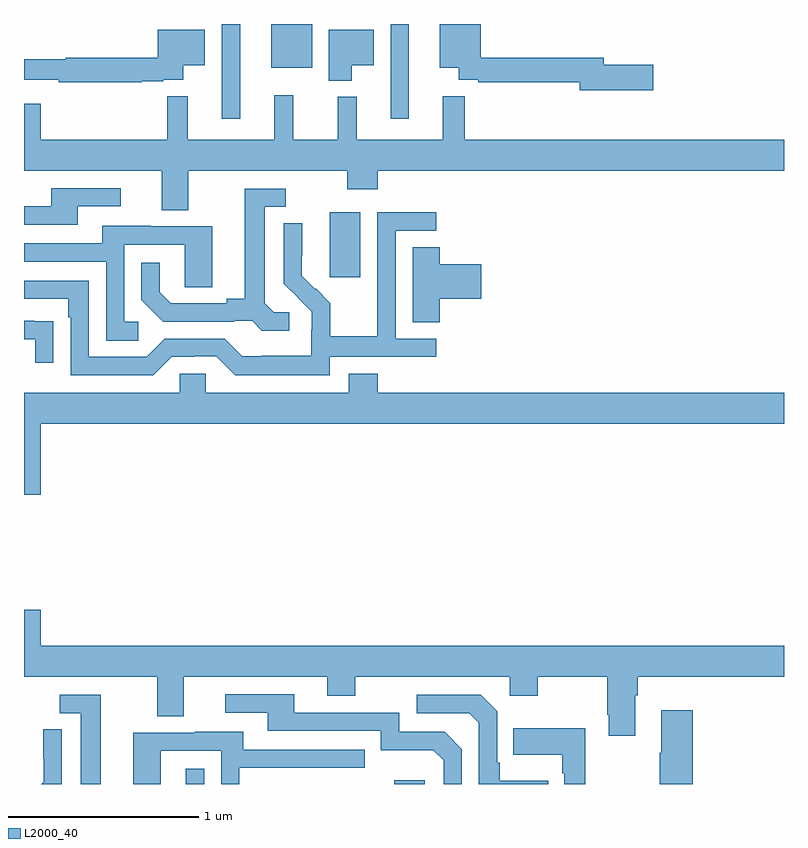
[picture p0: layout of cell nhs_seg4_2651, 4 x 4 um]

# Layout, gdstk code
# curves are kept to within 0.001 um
import gdstk
lib = gdstk.Library(unit=1e-6, precision=1e-09)
def R(c, l, rs):  # rectangles x0, y0, x1, y1
    for r in rs: c.add(gdstk.rectangle(r[:2], r[2:], *l))
def P(c, l, *ps):  # polygons
    for p in ps: c.add(gdstk.Polygon(p, *l))
L2000_40 = (2000, 40)

nhs_seg4_2651 = lib.new_cell('nhs_seg4_2651')
R(nhs_seg4_2651, L2000_40, [(249.851,818.9,249.948,818.98), (250.949,818.9,251.11,818.92), (250.61,821.568,250.771,821.908), (250.041,822.402,250.138,822.9), (250.929,822.402,251.026,822.9), (250.301,822.671,250.516,822.9)])
P(nhs_seg4_2651, L2000_40, [(252.313,822.686),(252.052,822.686),(252.052,822.722),(251.404,822.722),(251.404,822.9),(251.189,822.9),(251.189,822.671),(251.288,822.671),(251.288,822.606),(251.392,822.606),(251.392,822.594),(251.924,822.594),(251.924,822.551),(252.313,822.551)],
  [(250.726,822.683),(250.84,822.683),(250.84,822.871),(250.604,822.871),(250.604,822.602),(250.726,822.602)],
  [(249.62,822.6),(249.734,822.6),(249.734,822.606),(249.838,822.606),(249.838,822.683),(249.952,822.683),(249.952,822.871),(249.704,822.871),(249.704,822.722),(249.22,822.722),(249.22,822.715),(249,822.715),(249,822.606),(249.184,822.606),(249.184,822.594),(249.62,822.594)],
  [(249.865,822.128),(250.702,822.128),(250.702,822.029),(250.862,822.029),(250.862,822.128),(253,822.128),(253,822.292),(251.321,822.292),(251.321,822.521),(251.204,822.521),(251.204,822.292),(250.751,822.292),(250.751,822.517),(250.651,822.517),(250.651,822.292),(250.416,822.292),(250.416,822.526),(250.316,822.526),(250.316,822.292),(249.863,822.292),(249.863,822.521),(249.754,822.521),(249.754,822.292),(249.088,822.292),(249.088,822.481),(249,822.481),(249,822.128),(249.725,822.128),(249.725,821.92),(249.865,821.92)],
  [(249.283,821.94),(249.508,821.94),(249.508,822.036),(249.143,822.036),(249.143,821.94),(249,821.94),(249,821.844),(249.283,821.844)],
  [(250.396,821.382),(250.314,821.382),(250.267,821.429),(250.267,821.937),(250.378,821.937),(250.378,822.033),(250.163,822.033),(250.163,821.453),(250.067,821.453),(250.067,821.43),(249.772,821.43),(249.715,821.487),(249.715,821.644),(249.618,821.644),(249.618,821.45),(249.734,821.334),(250.106,821.334),(250.106,821.337),(250.2,821.337),(250.252,821.285),(250.396,821.285)],
  [(250.608,821.148),(251.17,821.148),(251.17,821.244),(250.956,821.244),(250.956,821.811),(251.17,821.811),(251.17,821.91),(250.86,821.91),(250.86,821.48),(250.858,821.48),(250.858,821.257),(250.613,821.257),(250.613,821.431),(250.536,821.508),(250.533,821.505),(250.463,821.576),(250.463,821.68),(250.465,821.68),(250.465,821.852),(250.368,821.852),(250.368,821.534),(250.514,821.386),(250.514,821.289),(250.512,821.289),(250.512,821.155),(250.249,821.155),(250.249,821.151),(250.149,821.151),(250.056,821.244),(249.741,821.244),(249.645,821.148),(249.342,821.148),(249.342,821.55),(249,821.55),(249,821.454),(249.233,821.454),(249.233,821.357),(249.246,821.357),(249.246,821.052),(249.681,821.052),(249.777,821.148),(249.896,821.148),(249.896,821.151),(250.011,821.151),(250.111,821.051),(250.608,821.051)],
  [(249.601,821.334),(249.528,821.334),(249.528,821.739),(249.846,821.739),(249.846,821.515),(249.991,821.515),(249.991,821.835),(249.667,821.835),(249.667,821.839),(249.413,821.839),(249.413,821.745),(249,821.745),(249,821.649),(249.432,821.649),(249.432,821.233),(249.601,821.233)],
  [(251.189,821.453),(251.407,821.453),(251.407,821.636),(251.189,821.636),(251.189,821.726),(251.045,821.726),(251.045,821.329),(251.189,821.329)],
  [(249.155,821.336),(249.053,821.336),(249.053,821.337),(249,821.337),(249,821.241),(249.059,821.241),(249.059,821.118),(249.155,821.118)],
  [(249.088,820.796),(253,820.796),(253,820.96),(250.862,820.96),(250.862,821.059),(250.709,821.059),(250.709,820.96),(249.957,820.96),(249.957,821.058),(249.819,821.058),(249.819,820.96),(249,820.96),(249,820.422),(249.088,820.422)],
  [(252.217,819.368),(252.23,819.368),(252.23,819.464),(253,819.464),(253,819.628),(249.088,819.628),(249.088,819.817),(249,819.817),(249,819.464),(249.701,819.464),(249.701,819.256),(249.841,819.256),(249.841,819.464),(250.595,819.464),(250.595,819.365),(250.743,819.365),(250.743,819.464),(251.556,819.464),(251.556,819.365),(251.703,819.365),(251.703,819.464),(252.07,819.464),(252.07,819.265),(252.077,819.265),(252.077,819.153),(252.217,819.153)],
  [(251.304,819.084),(251.214,819.174),(250.974,819.174),(250.974,819.276),(250.423,819.276),(250.423,819.372),(250.059,819.372),(250.059,819.276),(250.283,819.276),(250.283,819.18),(250.878,819.18),(250.878,819.077),(251.155,819.077),(251.208,819.024),(251.208,818.9),(251.304,818.9)],
  [(249.403,819.369),(249.189,819.369),(249.189,819.273),(249.299,819.273),(249.299,818.9),(249.403,818.9)],
  [(251.759,818.917),(251.503,818.917),(251.503,819.013),(251.49,819.013),(251.49,819.282),(251.403,819.369),(251.067,819.369),(251.067,819.273),(251.343,819.273),(251.394,819.222),(251.394,818.9),(251.759,818.9)],
  [(252.521,819.289),(252.353,819.289),(252.353,819.065),(252.346,819.065),(252.346,818.9),(252.521,818.9)],
  [(251.953,819.193),(251.575,819.193),(251.575,819.053),(251.832,819.053),(251.832,818.957),(251.844,818.957),(251.844,818.9),(251.953,818.9)],
  [(249.198,819.188),(249.102,819.188),(249.102,819.034),(249.104,819.034),(249.104,818.912),(249.092,818.9),(249.198,818.9)],
  [(249.72,819.075),(250.038,819.075),(250.038,818.9),(250.134,818.9),(250.134,818.985),(250.793,818.985),(250.793,819.081),(250.153,819.081),(250.153,819.175),(249.899,819.175),(249.899,819.171),(249.575,819.171),(249.575,818.9),(249.72,818.9)])

lib.write_gds('nhs_seg4_2651.gds')
